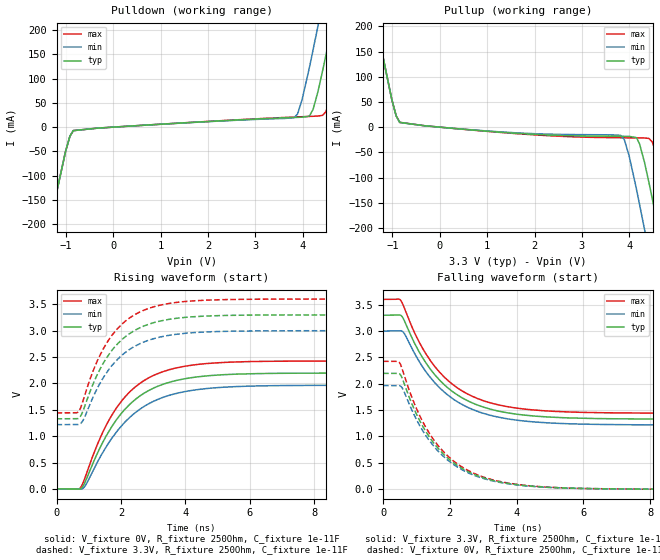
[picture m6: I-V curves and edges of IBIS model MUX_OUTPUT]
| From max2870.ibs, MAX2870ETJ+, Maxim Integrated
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|   MUX_OUTPUT Model
[Model]   MUX_OUTPUT
Model_type   Output
Polarity   Non-Inverting
Vmeas = 1.65
Vref = 0
Cref = 10pF
Rref = 10000
|   typ   min   max
|C_comp values with magnitude order
C_comp   1.044e-13   1.043e-13   1.044e-13
|C_comp values with real corner order
|C_comp   1.044e-13   1.043e-13   1.044e-13
|C_comp (ON state)   1.044e-13   1.043e-13   1.044e-13
|C_comp (OFF state)   1.044e-13   1.043e-13   1.044e-13
[Voltage Range]   3.3   3   3.6
[Temperature Range]   27   110   -40
[Pullup Reference]   3.3   3   3.6
[Pulldown Reference]   0   0   0
[Power Clamp Reference]   3.3   3   3.6
[GND Clamp Reference]   0   0   0
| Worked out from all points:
|   slope of the pulldown table from 0 to 0.495 V, typ, clamps not added: 165 ohm
|   slope of the pullup table from 0 to 0.495 V, typ, clamps not added: 120 ohm
|   falling waveform, V_fixture 3.3V, R_fixture 250Ohm, C_fixture 1e-11F: 20-80 % time 1.55ns typ, 1.58ns min, 1.54ns max; typ from 3.3 V to 1.33 V
|   rising waveform, V_fixture 0V, R_fixture 250Ohm, C_fixture 1e-11F: 20-80 % time 1.48ns typ, 1.57ns min, 1.41ns max; typ from 0 V to 2.2 V
|   rising waveform, V_fixture 3.3V, R_fixture 250Ohm, C_fixture 1e-11F: 20-80 % time 1.21ns typ, 1.25ns min, 1.19ns max; typ from 1.33 V to 3.3 V
|   falling waveform, V_fixture 0V, R_fixture 250Ohm, C_fixture 1e-11F: 20-80 % time 1.47ns typ, 1.48ns min, 1.46ns max; typ from 2.2 V to 0 V
[Pulldown]
|   Voltage   I(typ)   I(min)   I(max)
-3.3V     -1.186A    -1.186A    -1.186A
-1.644V   -349.8mA   -349.8mA   -349.7mA
-1.244V   -155mA     -155mA     -154.9mA
-1.008V   -49.64mA   -49.7mA    -49.56mA
-844.8mV  -7.156mA   -7.128mA   -7.166mA
3.816V    19.87mA    19.48mA    20.78mA
4.143V    23.47mA    124.6mA    22.08mA
4.318V    72.35mA    207.2mA    22.85mA
4.415V    114.6mA    254.5mA    24.18mA
4.564V    184.3mA    328mA      54.04mA
4.944V    370.8mA    518.2mA    225.7mA
6.6V      1.209A     1.361A     1.059A
[Pullup]
|   Voltage   I(typ)   I(min)   I(max)
-3.3V     1.204A     1.204A     1.204A
-1.291V   180.7mA    180.6mA    180.9mA
-1.014V   54.65mA    54.53mA    54.72mA
-846mV    9.399mA    9.212mA    9.543mA
3.819V    -18.19mA   -16.38mA   -21.05mA
3.996V    -18.32mA   -56.7mA    -21.19mA
4.161V    -22.42mA   -127.4mA   -21.31mA
4.32V     -69.22mA   -201.5mA   -21.47mA
4.487V    -142.5mA   -281.9mA   -29.52mA
4.597V    -193.9mA   -335.6mA   -63.45mA
4.965V    -372.1mA   -518.2mA   -229.7mA
6.6V      -1.196A    -1.347A    -1.045A
[Ramp]
R_load = 250
|   typ   min   max
dV/dt_r 1.3180E+00/1.4780E-09   1.1792E+00/1.5674E-09   1.4551E+00/1.4134E-09
dV/dt_f 1.1825E+00/1.5535E-09   1.0690E+00/1.5760E-09   1.2951E+00/1.5382E-09
[Falling Waveform]
V_fixture = 3.3V
V_fixture_min = 3V
V_fixture_max = 3.6V
R_fixture = 250Ohm
C_fixture = 1e-11F
|   Time   V(typ)   V(min)   V(max)
0s        3.3V       3V         3.6V
534ps     3.297V     3.006V     3.578V
657.1ps   3.17V      2.933V     3.405V
1.166ns   2.513V     2.339V     2.693V
1.544ns   2.174V     2.023V     2.331V
1.906ns   1.94V      1.803V     2.083V
2.597ns   1.658V     1.534V     1.785V
3.457ns   1.481V     1.365V     1.599V
5.88ns    1.346V     1.235V     1.458V
15ns      1.329V     1.218V     1.441V
[Rising Waveform]
V_fixture = 0V
V_fixture_min = 0V
V_fixture_max = 0V
R_fixture = 250Ohm
C_fixture = 1e-11F
|   Time   V(typ)   V(min)   V(max)
0s        1.505uV    1.734uV    1.687uV
740ps     1.665mV    -5.014mV   21.68mV
909ps     161.4mV    77.89mV    255.5mV
1.447ns   898.9mV    703.1mV    1.091V
1.983ns   1.412V     1.172V     1.64V
2.663ns   1.794V     1.543V     2.034V
3.569ns   2.034V     1.787V     2.272V
4.552ns   2.137V     1.897V     2.371V
5.879ns   2.182V     1.947V     2.413V
15ns      2.197V     1.965V     2.425V
[Rising Waveform]
V_fixture = 3.3V
V_fixture_min = 3V
V_fixture_max = 3.6V
R_fixture = 250Ohm
C_fixture = 1e-11F
|   Time   V(typ)   V(min)   V(max)
0s        1.329V     1.218V     1.441V
685.6ps   1.339V     1.222V     1.466V
840.7ps   1.509V     1.321V     1.707V
1.041ns   1.848V     1.61V      2.083V
1.263ns   2.166V     1.905V     2.425V
1.719ns   2.629V     2.341V     2.913V
2.354ns   2.98V      2.679V     3.277V
3.194ns   3.18V      2.877V     3.482V
5.431ns   3.291V     2.991V     3.592V
15ns      3.3V       3V         3.6V
[Falling Waveform]
V_fixture = 0V
V_fixture_min = 0V
V_fixture_max = 0V
R_fixture = 250Ohm
C_fixture = 1e-11F
|   Time   V(typ)   V(min)   V(max)
0s        2.197V     1.965V     2.425V
504.2ps   2.183V     1.962V     2.391V
606.7ps   2.051V     1.883V     2.214V
1.095ns   1.303V     1.209V     1.398V
1.447ns   935.4mV    871.7mV    1.002V
1.795ns   673.2mV    629.6mV    720.3mV
2.459ns   360.4mV    337.5mV    384.7mV
3.28ns    166.8mV    156.6mV    177.8mV
5.88ns    14.64mV    13.9mV     14.79mV
15ns      42.87uV    41.41uV    45uV
